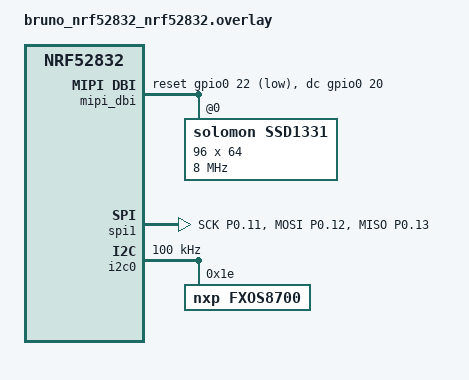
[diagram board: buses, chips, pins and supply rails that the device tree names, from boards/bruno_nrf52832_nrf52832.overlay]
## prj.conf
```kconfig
CONFIG_MAIN_STACK_SIZE=4096
CONFIG_LOG=y

# Enable LVGL's internal logging system
CONFIG_LV_USE_LOG=y
# Only show warnings and errors (not verbose info/trace)
CONFIG_LV_LOG_LEVEL_WARN=y

CONFIG_LVGL=y
CONFIG_LV_Z_MEM_POOL_SIZE=16384

CONFIG_DISPLAY=y
CONFIG_INPUT=y
CONFIG_SENSOR=y
CONFIG_EMUL=y

CONFIG_I2C=y

CONFIG_LV_FONT_MONTSERRAT_8=y
CONFIG_LV_FONT_UNSCII_8=y

CONFIG_CBPRINTF_FP_SUPPORT=y

CONFIG_LV_COLOR_DEPTH_16=y
CONFIG_LV_COLOR_16_SWAP=y

CONFIG_SSD1331_DEFAULT_CONTRAST=255
CONFIG_SSD1331_CONTRASTA=200
CONFIG_SSD1331_CONTRASTB=200
CONFIG_SSD1331_CONTRASTC=200
```

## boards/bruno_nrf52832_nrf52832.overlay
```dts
/*
 * OLED SPI - SSD1331 96x64 (colorido RGB)
 * Compatible: "solomon,ssd1331"
 * Uses MIPI DBI (SPI mode) interface
 */

#include <zephyr/dt-bindings/gpio/gpio.h>
#include <zephyr/dt-bindings/mipi_dbi/mipi_dbi.h>

/ {
	aliases {
		accel0 = &fxos8700;
	};

	chosen {
		zephyr,display = &ssd1331;
	};

	mipi_dbi {
		compatible = "zephyr,mipi-dbi-spi";
		status = "okay";
		spi-dev = <&spi1>;
		dc-gpios = <&gpio0 20 GPIO_ACTIVE_HIGH>;
		reset-gpios = <&gpio0 22 GPIO_ACTIVE_LOW>;
		write-only;
		#address-cells = <1>;
		#size-cells = <0>;

		ssd1331: ssd1331@0 {
			compatible = "solomon,ssd1331";
			reg = <0>;
			mipi-max-frequency = <8000000>;
			mipi-mode = "MIPI_DBI_MODE_SPI_4WIRE";
			width = <96>;
			height = <64>;
			display-offset = <0>;
			start-line = <0>;
			multiplex-ratio = <63>;
			phase-length = <0x31>;
			oscillator-freq = <0xF0>;
			precharge-time-a = <0x64>;
			precharge-time-b = <0x78>;
			precharge-time-c = <0x64>;
			precharge-voltage = <0x3A>;
			vcomh-voltage = <0x3E>;
			current-att = <0x0F>;
			remap-value = <0x72>;
		};
	};
};

/* I2C0 habilitado para o FXOS8700CQ */
/* &i2c0 { status = "disabled"; }; */
&i2c1 { status = "disabled"; };
&spi0 { status = "disabled"; };
&adc  { status = "disabled"; };

&spi1 {
    compatible = "nordic,nrf-spim";
    status = "okay";

    #address-cells = <1>;
    #size-cells = <0>;

    cs-gpios = <&gpio0 19 GPIO_ACTIVE_LOW>;

    pinctrl-0 = <&spi1_default>;
    pinctrl-1 = <&spi1_sleep>;
    pinctrl-names = "default", "sleep";
};

&i2c0 {
    compatible = "nordic,nrf-twim";
    status = "okay";
    clock-frequency = <I2C_BITRATE_STANDARD>;

    fxos8700: fxos8700@1e {
        compatible = "nxp,fxos8700";
        reg = <0x1e>;
        range = <2>;
    };
};

&pinctrl {
    spi1_default: spi1_default {
        group1 {
            psels = <NRF_PSEL(SPIM_SCK,  0, 11)>,
                    <NRF_PSEL(SPIM_MOSI, 0, 12)>,
                    <NRF_PSEL(SPIM_MISO, 0, 13)>;
        };
    };

    spi1_sleep: spi1_sleep {
        group1 {
            psels = <NRF_PSEL(SPIM_SCK,  0, 11)>,
                    <NRF_PSEL(SPIM_MOSI, 0, 12)>,
                    <NRF_PSEL(SPIM_MISO, 0, 13)>;
            low-power-enable;
        };
    };
};
```

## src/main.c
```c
/*
 * LVGL usage example on Zephyr RTOS
 *
 * Copyright (c) 2023 Benjamin Cabé <benjamin@zephyrproject.org>
 *
 * SPDX-License-Identifier: Apache-2.0
 */

#include <zephyr/device.h>
#include <zephyr/devicetree.h>
#include <zephyr/drivers/display.h>
#include <zephyr/drivers/sensor.h>
#include <zephyr/drivers/i2c.h>

#include <lvgl.h>
#include "lv_font_tiny5.h"
#include <stdio.h>
#include <string.h>
#include <zephyr/kernel.h>

#include <zephyr/logging/log.h>
LOG_MODULE_REGISTER(app, CONFIG_LOG_DEFAULT_LEVEL);

#define ACCEL_SCALE 100
#define G_MS2       9.81

static lv_obj_t *chart1;
static lv_chart_series_t *ser_x;
static lv_chart_series_t *ser_y;
static lv_chart_series_t *ser_z;
static lv_obj_t *lbl_x;
static lv_obj_t *lbl_y;
static lv_obj_t *lbl_z;
static lv_timer_t *sensor_timer;

const struct device *accel_sensor;

/* Timer handler: fetches sensor data and appends it to the chart */
static void sensor_timer_cb(lv_timer_t *timer)
{
	struct sensor_value accel[3];
	int rc = sensor_sample_fetch(accel_sensor);

	if (rc == 0) {
		rc = sensor_channel_get(accel_sensor, SENSOR_CHAN_ACCEL_XYZ, accel);
	}
	if (rc < 0) {
		LOG_ERR("ERROR: Update failed: %d\n", rc);
		return;
	}

	double ax = sensor_value_to_double(&accel[0]);
	double ay = sensor_value_to_double(&accel[1]);
	double az = sensor_value_to_double(&accel[2]);

	lv_chart_set_next_value(chart1, ser_x, (int32_t)(ax * ACCEL_SCALE));
	lv_chart_set_next_value(chart1, ser_y, (int32_t)(ay * ACCEL_SCALE));
	lv_chart_set_next_value(chart1, ser_z, (int32_t)(az * ACCEL_SCALE));

	/* Update legend with current values in G */
	lv_label_set_text_fmt(lbl_x, "X:%.1f", ax / G_MS2);
	lv_label_set_text_fmt(lbl_y, "Y:%.1f", ay / G_MS2);
	lv_label_set_text_fmt(lbl_z, "Z:%.1f", az / G_MS2);
}

static void create_legend(lv_obj_t *parent)
{
	lv_obj_t *legend = lv_obj_create(parent);
	lv_obj_remove_style_all(legend);
	lv_obj_set_size(legend, LV_HOR_RES, 8);
	lv_obj_align(legend, LV_ALIGN_TOP_LEFT, 0, 0);
	lv_obj_set_style_bg_color(legend, lv_color_black(), 0);
	lv_obj_set_style_bg_opa(legend, LV_OPA_COVER, 0);
	lv_obj_set_flex_flow(legend, LV_FLEX_FLOW_ROW);
	lv_obj_set_flex_align(legend, LV_FLEX_ALIGN_SPACE_EVENLY, LV_FLEX_ALIGN_CENTER,
			      LV_FLEX_ALIGN_CENTER);

	static const struct {
		const char *init;
		lv_color_t color;
		lv_obj_t **lbl;
	} items[] = {
		{"X:--", LV_COLOR_MAKE(255, 0, 0),   &lbl_x},
		{"Y:--", LV_COLOR_MAKE(0, 128, 255), &lbl_y},
		{"Z:--", LV_COLOR_MAKE(0, 255, 0),   &lbl_z},
	};

	for (int i = 0; i < 3; i++) {
		lv_obj_t *lbl = lv_label_create(legend);
		lv_label_set_text(lbl, items[i].init);
		lv_obj_set_style_text_font(lbl, &lv_font_tiny5, 0);
		lv_obj_set_style_text_color(lbl, items[i].color, 0);
		*items[i].lbl = lbl;
	}
}

#define CHART_TOP_MARGIN 8


static void create_accelerometer_chart(lv_obj_t *parent)
{
	create_legend(parent);

	/* Fundo preto na tela */
	lv_obj_set_style_bg_color(parent, lv_color_black(), 0);
	lv_obj_set_style_bg_opa(parent, LV_OPA_COVER, 0);

	chart1 = lv_chart_create(parent);
	lv_obj_set_size(chart1, LV_HOR_RES, LV_VER_RES - CHART_TOP_MARGIN);
	lv_obj_align(chart1, LV_ALIGN_BOTTOM_MID, 0, 0);
	lv_obj_set_style_bg_color(chart1, lv_color_black(), 0);
	lv_obj_set_style_bg_opa(chart1, LV_OPA_COVER, 0);
	lv_obj_set_style_border_width(chart1, 0, 0);
	lv_chart_set_type(chart1, LV_CHART_TYPE_LINE);
	lv_chart_set_div_line_count(chart1, 5, 8);
	lv_obj_set_style_line_color(chart1, lv_color_make(40, 40, 40), LV_PART_MAIN);
	lv_chart_set_range(chart1, LV_CHART_AXIS_PRIMARY_Y, -2000, 2000); /* -/+ 2G scaled x100 */
	lv_chart_set_update_mode(chart1, LV_CHART_UPDATE_MODE_SHIFT);

	ser_x = lv_chart_add_series(chart1, lv_color_make(255, 0, 0),
				    LV_CHART_AXIS_PRIMARY_Y);
	ser_y = lv_chart_add_series(chart1, lv_color_make(0, 128, 255),
				    LV_CHART_AXIS_PRIMARY_Y);
	ser_z = lv_chart_add_series(chart1, lv_color_make(0, 255, 0),
				    LV_CHART_AXIS_PRIMARY_Y);

	lv_chart_set_point_count(chart1, CONFIG_SAMPLE_CHART_POINTS_PER_SERIES);

	/* Do not display point markers on the data */
	lv_obj_set_style_size(chart1, 0, 0, LV_PART_INDICATOR);
}

/* Scan do barramento I2C - lista todos os enderecos que respondem */
static void i2c_scan(const struct device *i2c_dev)
{
	uint8_t dummy;

	LOG_INF("I2C scan on %s...", i2c_dev->name);
	for (uint8_t addr = 0x08; addr < 0x78; addr++) {
		int ret = i2c_read(i2c_dev, &dummy, 1, addr);
		if (ret == 0) {
			LOG_INF("  Found device at 0x%02X", addr);
		}
	}
	LOG_INF("I2C scan done.");
}

int main(void)
{
	const struct device *display_dev;

	/* I2C scan para debug - remover depois */
	const struct device *i2c_dev = DEVICE_DT_GET(DT_NODELABEL(i2c0));
	if (device_is_ready(i2c_dev)) {
		i2c_scan(i2c_dev);
	} else {
		LOG_ERR("I2C0 not ready");
	}

	display_dev = DEVICE_DT_GET(DT_CHOSEN(zephyr_display));
	if (!device_is_ready(display_dev)) {
		LOG_ERR("Device not ready, aborting test");
		return -ENODEV;
	}

	accel_sensor = DEVICE_DT_GET(DT_ALIAS(accel0));
	if (!device_is_ready(accel_sensor)) {
		LOG_ERR("Device %s is not ready\n", accel_sensor->name);
		return -ENODEV;
	}

	create_accelerometer_chart(lv_screen_active());
	sensor_timer = lv_timer_create(sensor_timer_cb,
					200/ CONFIG_SAMPLE_ACCEL_SAMPLING_RATE,
					NULL);
	lv_timer_handler();
	display_blanking_off(display_dev);

	while (1) {
		uint32_t sleep_ms = lv_timer_handler();

		k_msleep(MIN(sleep_ms, INT32_MAX));
	}

	return 0;
}
```

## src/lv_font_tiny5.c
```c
/*
 * Tiny 5px bitmap font for LVGL
 * 3x5 pixel glyphs, 1bpp, monospace (4px advance)
 * Supports: space - . 0-9 : G X Y Z
 *
 * Glyph order MUST match unicode_list sort order:
 *   ' '(0x20) '-'(0x2D) '.'(0x2E) '0'-'9'(0x30-0x39) ':'(0x3A) 'G'(0x47) 'X'(0x58) 'Y'(0x59) 'Z'(0x5A)
 *
 * Bitmap: 3 cols x 5 rows, MSB-first, packed (stride=0).
 * 15 bits per glyph = 2 bytes. byte0=bits[14:7], byte1=bits[6:0]<<1
 */

#include <lvgl.h>

static const uint8_t glyph_bitmap[] = {
	/* [0] ' ' - empty placeholder */
	0x00,

	/* [1] '-'   row0-4: 000 000 111 000 000
	 * 00000011 10000000 = 0x03 0x80 */
	0x03, 0x80,

	/* [3] '.'   row0-4: 000 000 000 000 010
	 * 00000000 00000100 = 0x00 0x04 */
	0x00, 0x04,

	/* [5] '0'   111 101 101 101 111
	 * 11110110 11011110 = 0xF6 0xDE */
	0xF6, 0xDE,

	/* [7] '1'   010 110 010 010 111
	 * 01011001 00101110 = 0x59 0x2E */
	0x59, 0x2E,

	/* [9] '2'   111 001 111 100 111
	 * 11100111 11001110 = 0xE7 0xCE */
	0xE7, 0xCE,

	/* [11] '3'  111 001 111 001 111
	 * 11100111 10011110 = 0xE7 0x9E */
	0xE7, 0x9E,

	/* [13] '4'  101 101 111 001 001
	 * 10110111 10010010 = 0xB7 0x92 */
	0xB7, 0x92,

	/* [15] '5'  111 100 111 001 111
	 * 11110011 10011110 = 0xF3 0x9E */
	0xF3, 0x9E,

	/* [17] '6'  111 100 111 101 111
	 * 11110011 11011110 = 0xF3 0xDE */
	0xF3, 0xDE,

	/* [19] '7'  111 001 001 001 001
	 * 11100100 10010010 = 0xE4 0x92 */
	0xE4, 0x92,

	/* [21] '8'  111 101 111 101 111
	 * 11110111 11011110 = 0xF7 0xDE */
	0xF7, 0xDE,

	/* [23] '9'  111 101 111 001 111
	 * 11110111 10011110 = 0xF7 0x9E */
	0xF7, 0x9E,

	/* [25] ':'  000 010 000 010 000
	 * 00001000 00100000 = 0x08 0x20 */
	0x08, 0x20,

	/* [27] 'G'  111 100 101 101 111
	 * 11110010 11011110 = 0xF2 0xDE */
	0xF2, 0xDE,

	/* [29] 'X'  101 101 010 101 101
	 * 10110101 01011010 = 0xB5 0x5A */
	0xB5, 0x5A,

	/* [31] 'Y'  101 101 010 010 010
	 * 10110101 00100100 = 0xB5 0x24 */
	0xB5, 0x24,

	/* [33] 'Z'  111 001 010 100 111
	 * 11100101 01001110 = 0xE5 0x4E */
	0xE5, 0x4E,
};

/*
 * Glyph descriptors - order matches unicode_list (sorted by codepoint).
 * adv_w = 4px * 16 = 64 (monospace). ofs_y=1 (1px from bottom baseline).
 */
static const lv_font_fmt_txt_glyph_dsc_t glyph_dsc[] = {
	{.bitmap_index = 0,  .adv_w = 0,  .box_w = 0, .box_h = 0, .ofs_x = 0, .ofs_y = 0}, /* reserved */
	{.bitmap_index = 0,  .adv_w = 48, .box_w = 1, .box_h = 1, .ofs_x = 0, .ofs_y = 6}, /* ' '  */
	{.bitmap_index = 1,  .adv_w = 64, .box_w = 3, .box_h = 5, .ofs_x = 0, .ofs_y = 1}, /* '-'  */
	{.bitmap_index = 3,  .adv_w = 64, .box_w = 3, .box_h = 5, .ofs_x = 0, .ofs_y = 1}, /* '.'  */
	{.bitmap_index = 5,  .adv_w = 64, .box_w = 3, .box_h = 5, .ofs_x = 0, .ofs_y = 1}, /* '0'  */
	{.bitmap_index = 7,  .adv_w = 64, .box_w = 3, .box_h = 5, .ofs_x = 0, .ofs_y = 1}, /* '1'  */
	{.bitmap_index = 9,  .adv_w = 64, .box_w = 3, .box_h = 5, .ofs_x = 0, .ofs_y = 1}, /* '2'  */
	{.bitmap_index = 11, .adv_w = 64, .box_w = 3, .box_h = 5, .ofs_x = 0, .ofs_y = 1}, /* '3'  */
	{.bitmap_index = 13, .adv_w = 64, .box_w = 3, .box_h = 5, .ofs_x = 0, .ofs_y = 1}, /* '4'  */
	{.bitmap_index = 15, .adv_w = 64, .box_w = 3, .box_h = 5, .ofs_x = 0, .ofs_y = 1}, /* '5'  */
	{.bitmap_index = 17, .adv_w = 64, .box_w = 3, .box_h = 5, .ofs_x = 0, .ofs_y = 1}, /* '6'  */
	{.bitmap_index = 19, .adv_w = 64, .box_w = 3, .box_h = 5, .ofs_x = 0, .ofs_y = 1}, /* '7'  */
	{.bitmap_index = 21, .adv_w = 64, .box_w = 3, .box_h = 5, .ofs_x = 0, .ofs_y = 1}, /* '8'  */
	{.bitmap_index = 23, .adv_w = 64, .box_w = 3, .box_h = 5, .ofs_x = 0, .ofs_y = 1}, /* '9'  */
	{.bitmap_index = 25, .adv_w = 64, .box_w = 3, .box_h = 5, .ofs_x = 0, .ofs_y = 1}, /* ':'  */
	{.bitmap_index = 27, .adv_w = 64, .box_w = 3, .box_h = 5, .ofs_x = 0, .ofs_y = 1}, /* 'G'  */
	{.bitmap_index = 29, .adv_w = 64, .box_w = 3, .box_h = 5, .ofs_x = 0, .ofs_y = 1}, /* 'X'  */
	{.bitmap_index = 31, .adv_w = 64, .box_w = 3, .box_h = 5, .ofs_x = 0, .ofs_y = 1}, /* 'Y'  */
	{.bitmap_index = 33, .adv_w = 64, .box_w = 3, .box_h = 5, .ofs_x = 0, .ofs_y = 1}, /* 'Z'  */
};

/* Sorted by codepoint: ' ' '-' '.' '0'-'9' ':' 'G' 'X' 'Y' 'Z' */
static const uint16_t unicode_list[] = {
	0x0000, /* ' '  U+0020 */
	0x000D, /* '-'  U+002D */
	0x000E, /* '.'  U+002E */
	0x0010, /* '0'  U+0030 */
	0x0011, /* '1'  U+0031 */
	0x0012, /* '2'  U+0032 */
	0x0013, /* '3'  U+0033 */
	0x0014, /* '4'  U+0034 */
	0x0015, /* '5'  U+0035 */
	0x0016, /* '6'  U+0036 */
	0x0017, /* '7'  U+0037 */
	0x0018, /* '8'  U+0038 */
	0x0019, /* '9'  U+0039 */
	0x001A, /* ':'  U+003A */
	0x0027, /* 'G'  U+0047 */
	0x0038, /* 'X'  U+0058 */
	0x0039, /* 'Y'  U+0059 */
	0x003A, /* 'Z'  U+005A */
};

static const lv_font_fmt_txt_cmap_t cmaps[] = {
	{
		.range_start       = 0x0020,
		.range_length      = 0x003B,
		.glyph_id_start    = 1,
		.unicode_list      = unicode_list,
		.glyph_id_ofs_list = NULL,
		.list_length       = 18,
		.type              = LV_FONT_FMT_TXT_CMAP_SPARSE_TINY,
	}
};

static const lv_font_fmt_txt_dsc_t font_dsc = {
	.glyph_bitmap  = glyph_bitmap,
	.glyph_dsc     = glyph_dsc,
	.cmaps         = cmaps,
	.kern_dsc      = NULL,
	.kern_scale    = 0,
	.cmap_num      = 1,
	.bpp           = 1,
	.kern_classes  = 0,
	.bitmap_format = 0,
};

const lv_font_t lv_font_tiny5 = {
	.get_glyph_dsc    = lv_font_get_glyph_dsc_fmt_txt,
	.get_glyph_bitmap = lv_font_get_bitmap_fmt_txt,
	.line_height      = 6,
	.base_line        = 0,
	.subpx            = LV_FONT_SUBPX_NONE,
	.underline_position  = 0,
	.underline_thickness = 0,
	.dsc              = &font_dsc,
};
```

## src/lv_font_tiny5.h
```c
#ifndef LV_FONT_TINY5_H
#define LV_FONT_TINY5_H

#include <lvgl.h>

extern const lv_font_t lv_font_tiny5;

#endif
```
